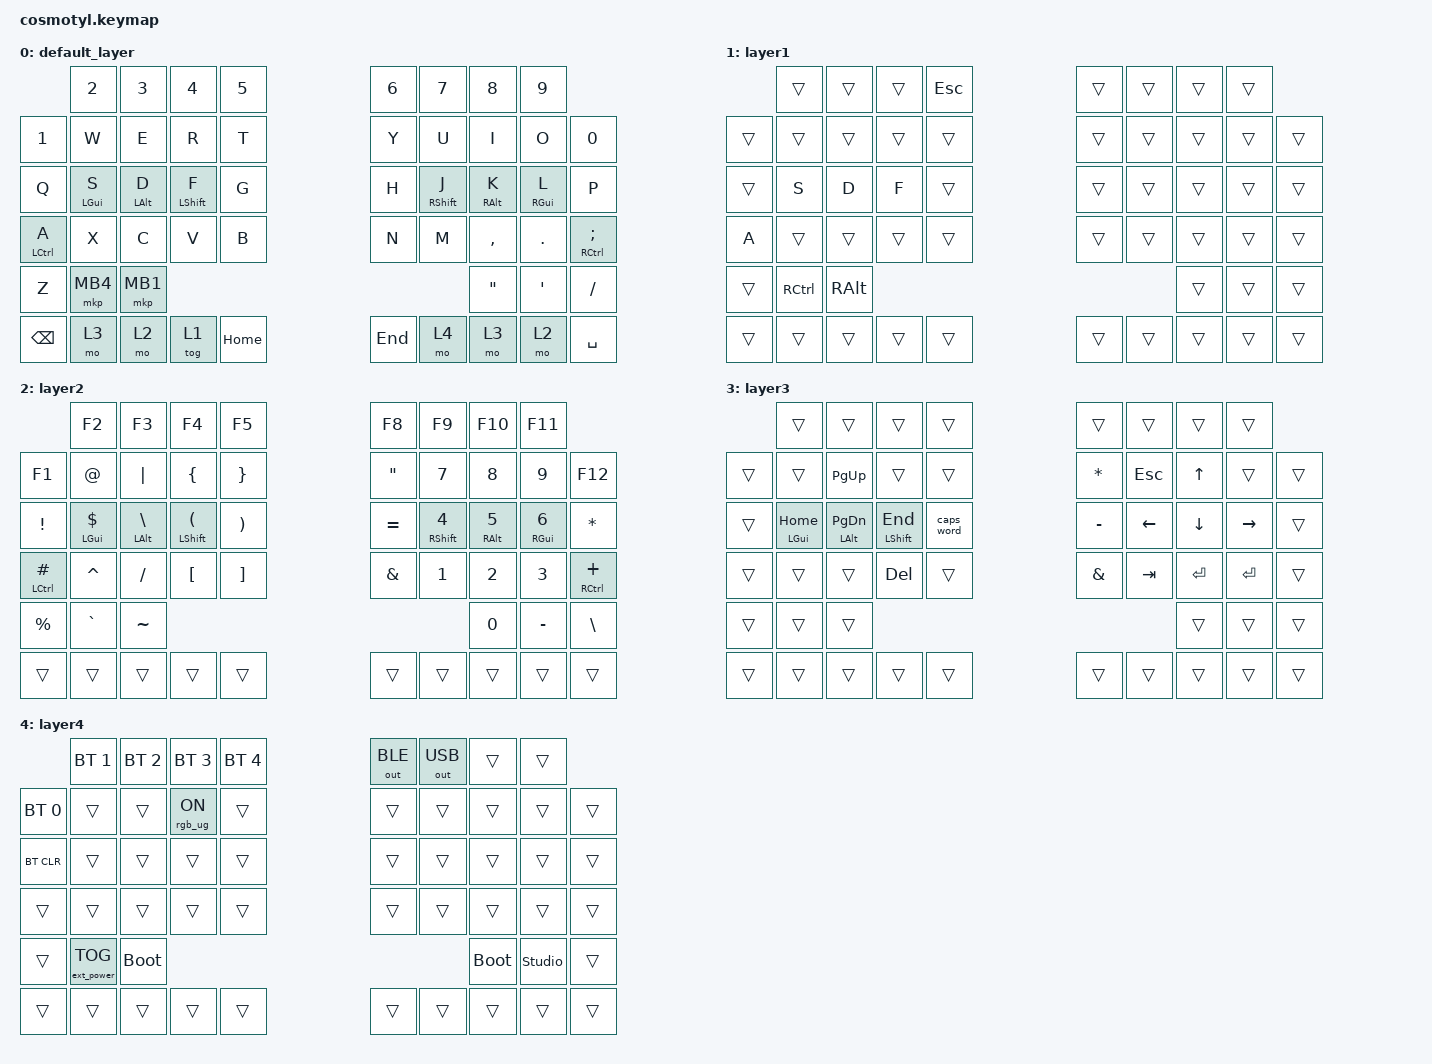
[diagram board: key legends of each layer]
#include <behaviors.dtsi>
#include <dt-bindings/zmk/keys.h>
#include <dt-bindings/zmk/pointing.h>
#include <dt-bindings/zmk/bt.h>
#include <dt-bindings/zmk/outputs.h>
#include <dt-bindings/zmk/rgb.h>
#include <dt-bindings/zmk/ext_power.h>

/ {
    // --- TIMELESS HOMEROW MODS ---
    behaviors {
        hml: homerow_mods_left {
            compatible = "zmk,behavior-hold-tap";
            #binding-cells = <2>;
            tapping-term-ms = <280>;
            quick-tap-ms = <175>;
            require-prior-idle-ms = <150>;
            flavor = "balanced";
            hold-trigger-on-release;
            hold-trigger-key-positions = <4 5 6 7 13 14 15 16 17 23 24 25 26 27 33 34 35 36 37 41 42 43 49 50 51 52 53>;
            bindings = <&kp>, <&kp>;
        };

        hmr: homerow_mods_right {
            compatible = "zmk,behavior-hold-tap";
            #binding-cells = <2>;
            tapping-term-ms = <280>;
            quick-tap-ms = <175>;
            require-prior-idle-ms = <150>;
            flavor = "balanced";
            hold-trigger-on-release;
            hold-trigger-key-positions = <0 1 2 3 8 9 10 11 12 18 19 20 21 22 28 29 30 31 32 38 39 40 44 45 46 47 48>;
            bindings = <&kp>, <&kp>;
        };

        hms_l: homerow_shift_left {
            compatible = "zmk,behavior-hold-tap";
            #binding-cells = <2>;
            tapping-term-ms = <200>;
            quick-tap-ms = <175>;
            flavor = "balanced";
            hold-trigger-on-release;
            hold-trigger-key-positions = <4 5 6 7 13 14 15 16 17 23 24 25 26 27 33 34 35 36 37 41 42 43 49 50 51 52 53>;
            bindings = <&kp>, <&kp>;
        };

        hms_r: homerow_shift_right {
            compatible = "zmk,behavior-hold-tap";
            #binding-cells = <2>;
            tapping-term-ms = <200>; 
            quick-tap-ms = <175>;
            flavor = "balanced";
            hold-trigger-on-release;
            hold-trigger-key-positions = <0 1 2 3 8 9 10 11 12 18 19 20 21 22 28 29 30 31 32 38 39 40 44 45 46 47 48>;
            bindings = <&kp>, <&kp>;
        };

    };

    keymap {
        compatible = "zmk,keymap";

        // letter layer
        default_layer {
            //                                                              | |
            bindings = <
                              &kp N2      &kp N3      &kp N4          &kp N5        &kp N6   &kp N7          &kp N8      &kp N9
                &kp N1        &kp W       &kp E       &kp R           &kp T         &kp Y    &kp U           &kp I       &kp O       &kp NUMBER_0
                &kp Q         &hml LGUI S &hml LALT D &hms_l LSHIFT F &kp G         &kp H    &hms_r RSHIFT J &hmr RALT K &hmr RGUI L &kp P
                &hml LCTRL A  &kp X       &kp C       &kp V           &kp B         &kp N    &kp M           &kp COMMA   &kp PERIOD  &hmr RCTRL SEMICOLON
                &kp Z         &mkp MB4    &mkp MB1                                                           &kp DQT     &kp SQT     &kp FSLH
                &kp BACKSPACE &mo 3       &mo 2       &tog 1          &kp HOME      &kp END  &mo 4           &mo 3       &mo 2       &kp SPACE 
            >;
        };

        // Gaming layer
        layer1 {
            //                                    | | 
            bindings = <
                       &trans    &trans &trans &kp ESC    &trans &trans &trans &trans
                &trans &trans    &trans &trans &trans     &trans &trans &trans &trans &trans
                &trans &kp S     &kp D  &kp F  &trans     &trans &trans &trans &trans &trans
                &kp A  &trans    &trans &trans &trans     &trans &trans &trans &trans &trans
                &trans &kp RCTRL &kp RALT                               &trans &trans &trans
                &trans &trans    &trans &trans &trans     &trans &trans &trans &trans &trans
            >;
        };

        // symbol layer
        layer2 {
            //                                                                           | |
            bindings = <
                                &kp F2         &kp F3         &kp F4             &kp F5      &kp F8    &kp F9           &kp F10      &kp F11
                &kp F1          &kp AT         &kp PIPE       &kp LBRC           &kp RBRC    &kp DQT   &kp N7           &kp N8       &kp N9       &kp F12
                &kp EXCL        &hml LGUI DLLR &hml LALT BSLH &hms_l LSHIFT LPAR &kp RPAR    &kp EQUAL &hms_r RSHIFT N4 &hmr RALT N5 &hmr RGUI N6 &kp STAR
                &hml LCTRL HASH &kp CARET      &kp FSLH       &kp LBKT           &kp RBKT    &kp AMPS  &kp N1           &kp N2       &kp N3       &hmr RCTRL PLUS
                &kp PRCNT       &kp GRAVE      &kp TILDE                                                                &kp N0       &kp MINUS    &kp BSLH
                &trans          &trans         &trans         &trans             &trans      &trans    &trans           &trans       &trans       &trans
            >;
        };

        // movement and symbol layer
        layer3 {
            //                                                                      | | 
            bindings = <
                       &trans         &trans          &trans            &trans           &trans       &trans       &trans      &trans
                &trans &trans         &kp PG_UP       &trans            &trans           &kp STAR     &kp ESC      &kp UP      &trans         &trans
                &trans &hml LGUI HOME &hml LALT PG_DN &hms_l LSHIFT END &caps_word       &kp MINUS    &kp LEFT     &kp DOWN    &kp RIGHT      &trans
                &trans &trans         &trans          &kp DEL           &trans           &kp AMPS     &kp TAB      &kp ENTER   &kp ENTER      &trans
                &trans &trans         &trans                                                           &trans      &trans         &trans
                &trans &trans         &trans          &trans            &trans           &trans       &trans       &trans      &trans         &trans
            >;
        };

        // system layer
        layer4 {
            //                                                                       | | 
            bindings = <
                             &bt BT_SEL 1      &bt BT_SEL 2 &bt BT_SEL 3 &bt BT_SEL 4     &out OUT_BLE &out OUT_USB &trans      &trans
                &bt BT_SEL 0 &trans            &trans       &rgb_ug RGB_ON &trans         &trans       &trans       &trans      &trans         &trans
                &bt BT_CLR   &trans            &trans       &trans       &trans           &trans       &trans       &trans      &trans         &trans
                &trans       &trans            &trans       &trans       &trans           &trans       &trans       &trans      &trans         &trans
                &trans       &ext_power EP_TOG &bootloader                                                          &bootloader &studio_unlock &trans
                &trans       &trans            &trans       &trans       &trans           &trans       &trans       &trans      &trans         &trans
            >;
        };

    };
};
